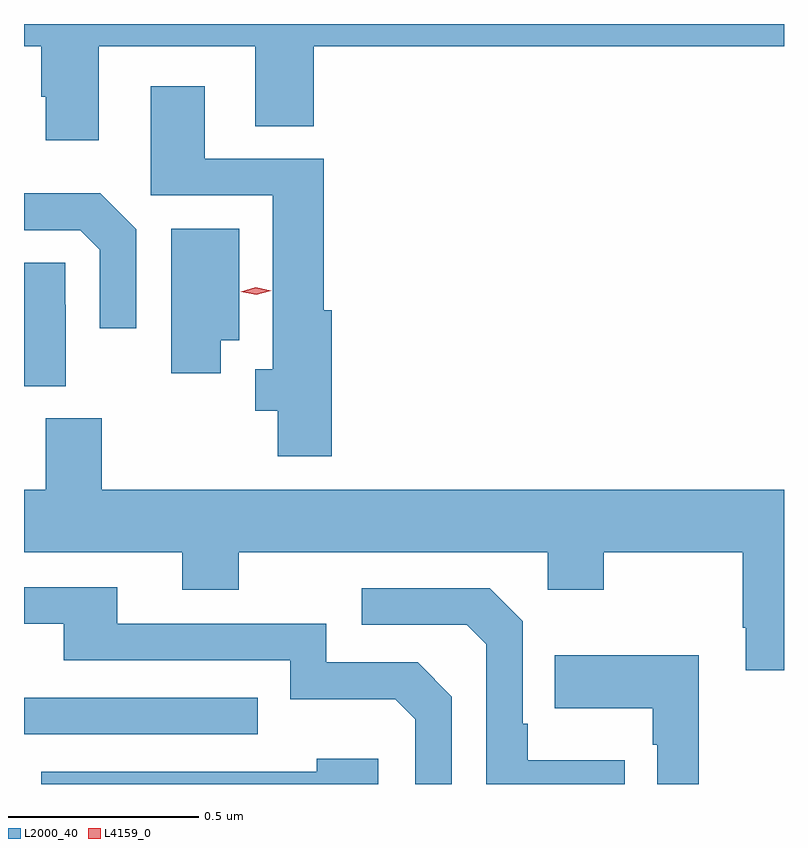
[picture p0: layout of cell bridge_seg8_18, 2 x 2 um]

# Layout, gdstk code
import gdstk
lib = gdstk.Library(unit=1e-6, precision=1e-09)
def R(c, l, rs):  # rectangles x0, y0, x1, y1
    for r in rs: c.add(gdstk.rectangle(r[:2], r[2:], *l))
def P(c, l, *ps):  # polygons
    for p in ps: c.add(gdstk.Polygon(p, *l))
L2000_40 = (2000, 40)
L4159_0 = (4159, 0)

bridge_seg8_18 = lib.new_cell('bridge_seg8_18')
R(bridge_seg8_18, L2000_40, [(903.524,1159.977,904.139,1160.073)])
P(bridge_seg8_18, L2000_40, [(903.721,1161.788),(904.133,1161.788),(904.133,1161.577),(904.286,1161.577),(904.286,1161.788),(905.524,1161.788),(905.524,1161.846),(903.524,1161.846),(903.524,1161.788),(903.569,1161.788),(903.569,1161.655),(903.581,1161.655),(903.581,1161.54),(903.721,1161.54)],
  [(904.334,1161.093),(904.313,1161.093),(904.313,1161.492),(904,1161.492),(904,1161.682),(903.857,1161.682),(903.857,1161.396),(904.178,1161.396),(904.178,1160.938),(904.133,1160.938),(904.133,1160.828),(904.192,1160.828),(904.192,1160.709),(904.334,1160.709)],
  [(903.819,1161.306),(903.725,1161.4),(903.524,1161.4),(903.524,1161.303),(903.672,1161.303),(903.723,1161.252),(903.723,1161.045),(903.819,1161.045)],
  [(904.042,1161.014),(904.09,1161.014),(904.09,1161.307),(903.911,1161.307),(903.911,1160.927),(904.042,1160.927)],
  [(903.634,1161.107),(903.633,1161.107),(903.633,1161.218),(903.524,1161.218),(903.524,1160.893),(903.634,1160.893)],
  [(905.524,1160.62),(903.729,1160.62),(903.729,1160.808),(903.581,1160.808),(903.581,1160.62),(903.524,1160.62),(903.524,1160.456),(903.941,1160.456),(903.941,1160.357),(904.089,1160.357),(904.089,1160.456),(904.902,1160.456),(904.902,1160.357),(905.049,1160.357),(905.049,1160.456),(905.416,1160.456),(905.416,1160.257),(905.423,1160.257),(905.423,1160.145),(905.524,1160.145)],
  [(904.65,1160.076),(904.56,1160.166),(904.32,1160.166),(904.32,1160.268),(903.769,1160.268),(903.769,1160.364),(903.524,1160.364),(903.524,1160.268),(903.629,1160.268),(903.629,1160.172),(904.224,1160.172),(904.224,1160.069),(904.501,1160.069),(904.554,1160.016),(904.554,1159.846),(904.65,1159.846)],
  [(905.105,1159.909),(904.849,1159.909),(904.849,1160.005),(904.836,1160.005),(904.836,1160.274),(904.749,1160.361),(904.413,1160.361),(904.413,1160.265),(904.689,1160.265),(904.74,1160.214),(904.74,1159.846),(905.105,1159.846)],
  [(905.299,1160.185),(904.921,1160.185),(904.921,1160.045),(905.178,1160.045),(905.178,1159.949),(905.19,1159.949),(905.19,1159.846),(905.299,1159.846)],
  [(904.456,1159.912),(904.295,1159.912),(904.295,1159.878),(903.57,1159.878),(903.57,1159.846),(904.456,1159.846)])
P(bridge_seg8_18, L4159_0, [(904.135,1161.133),(904.095,1161.142),(904.094,1161.142),(904.095,1161.142),(904.134,1161.153),(904.174,1161.144),(904.175,1161.144),(904.174,1161.144)])

lib.write_gds('bridge_seg8_18.gds')
